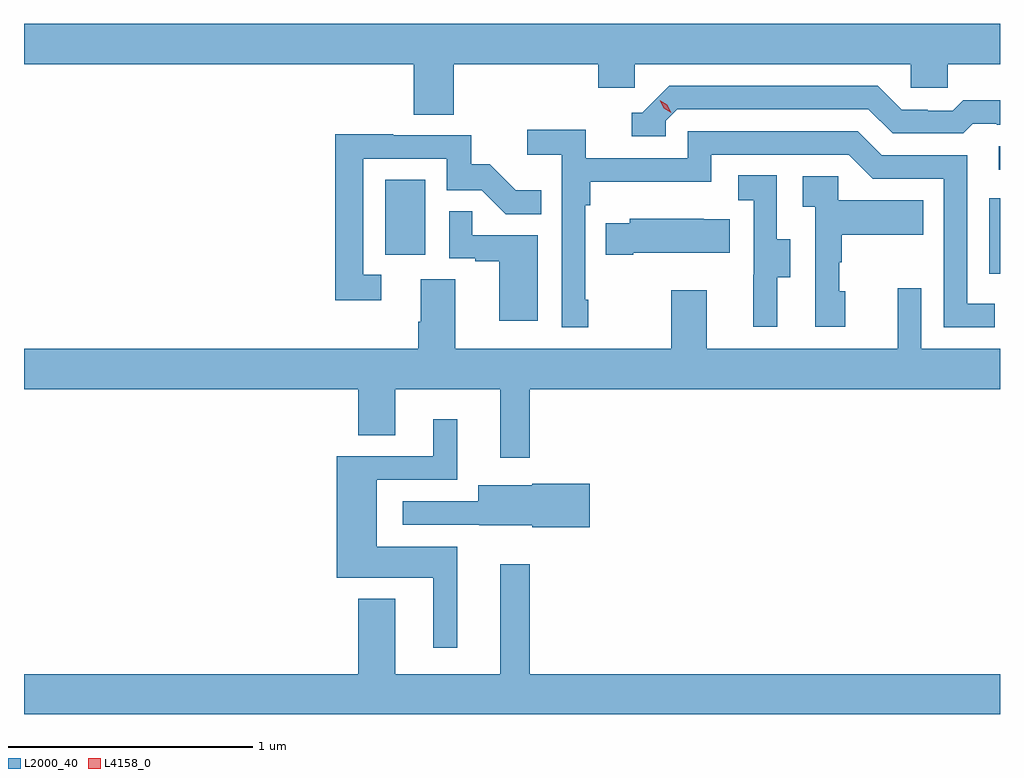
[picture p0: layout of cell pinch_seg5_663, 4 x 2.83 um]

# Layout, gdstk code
import gdstk
lib = gdstk.Library(unit=1e-6, precision=1e-09)
def R(c, l, rs):  # rectangles x0, y0, x1, y1
    for r in rs: c.add(gdstk.rectangle(r[:2], r[2:], *l))
def P(c, l, *ps):  # polygons
    for p in ps: c.add(gdstk.Polygon(p, *l))
L2000_40 = (2000, 40)
L4158_0 = (4158, 0)

pinch_seg5_663 = lib.new_cell('pinch_seg5_663')
R(pinch_seg5_663, L2000_40, [(1058.682,841.248,1058.726,841.558), (1056.206,841.326,1056.37,841.633), (1058.721,841.674,1058.726,841.77)])
P(pinch_seg5_663, L2000_40, [(1056.488,842.108),(1057.079,842.108),(1057.079,842.01),(1057.23,842.01),(1057.23,842.108),(1058.361,842.108),(1058.361,842.01),(1058.511,842.01),(1058.511,842.108),(1058.726,842.108),(1058.726,842.272),(1054.726,842.272),(1054.726,842.108),(1056.323,842.108),(1056.323,841.9),(1056.488,841.9)],
  [(1057.356,841.875),(1057.404,841.923),(1058.187,841.923),(1058.286,841.824),(1058.575,841.824),(1058.614,841.863),(1058.713,841.863),(1058.713,841.86),(1058.726,841.86),(1058.726,841.96),(1058.575,841.96),(1058.533,841.917),(1058.43,841.917),(1058.43,841.92),(1058.323,841.92),(1058.224,842.019),(1057.371,842.019),(1057.26,841.908),(1057.217,841.908),(1057.217,841.812),(1057.356,841.812)],
  [(1057.039,841.141),(1057.026,841.141),(1057.026,841.529),(1057.046,841.529),(1057.046,841.625),(1057.542,841.625),(1057.542,841.737),(1058.106,841.737),(1058.205,841.638),(1058.496,841.638),(1058.496,841.029),(1058.705,841.029),(1058.705,841.125),(1058.592,841.125),(1058.592,841.734),(1058.242,841.734),(1058.143,841.833),(1057.446,841.833),(1057.446,841.722),(1057.028,841.722),(1057.028,841.838),(1056.789,841.838),(1056.789,841.736),(1056.93,841.736),(1056.93,841.029),(1057.039,841.029)],
  [(1056.19,841.245),(1056.117,841.245),(1056.117,841.719),(1056.459,841.719),(1056.459,841.59),(1056.603,841.59),(1056.701,841.492),(1056.845,841.492),(1056.845,841.591),(1056.741,841.591),(1056.634,841.698),(1056.558,841.698),(1056.558,841.815),(1056.239,841.815),(1056.239,841.82),(1056.001,841.82),(1056.001,841.14),(1056.19,841.14)],
  [(1057.813,841.234),(1057.867,841.234),(1057.867,841.389),(1057.812,841.389),(1057.812,841.652),(1057.653,841.652),(1057.653,841.549),(1057.716,841.549),(1057.716,841.245),(1057.715,841.245),(1057.715,841.032),(1057.813,841.032)],
  [(1058.092,841.176),(1058.067,841.176),(1058.067,841.295),(1058.077,841.295),(1058.077,841.409),(1058.411,841.409),(1058.411,841.549),(1058.064,841.549),(1058.064,841.647),(1057.917,841.647),(1057.917,841.523),(1057.968,841.523),(1057.968,841.032),(1058.092,841.032)],
  [(1056.832,841.407),(1056.563,841.407),(1056.563,841.505),(1056.468,841.505),(1056.468,841.311),(1056.575,841.311),(1056.575,841.299),(1056.674,841.299),(1056.674,841.056),(1056.832,841.056)],
  [(1057.222,841.334),(1057.619,841.334),(1057.619,841.471),(1057.511,841.471),(1057.511,841.474),(1057.209,841.474),(1057.209,841.456),(1057.111,841.456),(1057.111,841.327),(1057.222,841.327)],
  [(1056.799,840.776),(1058.726,840.776),(1058.726,840.94),(1058.403,840.94),(1058.403,841.189),(1058.306,841.189),(1058.306,840.94),(1057.525,840.94),(1057.525,841.18),(1057.378,841.18),(1057.378,840.94),(1056.493,840.94),(1056.493,841.226),(1056.353,841.226),(1056.353,841.052),(1056.341,841.052),(1056.341,840.94),(1054.726,840.94),(1054.726,840.776),(1056.095,840.776),(1056.095,840.586),(1056.247,840.586),(1056.247,840.776),(1056.677,840.776),(1056.677,840.495),(1056.799,840.495)],
  [(1056.502,840.13),(1056.172,840.13),(1056.172,840.405),(1056.502,840.405),(1056.502,840.652),(1056.404,840.652),(1056.404,840.501),(1056.008,840.501),(1056.008,840.002),(1056.404,840.002),(1056.404,839.715),(1056.502,839.715)],
  [(1057.045,840.387),(1056.81,840.387),(1056.81,840.382),(1056.587,840.382),(1056.587,840.315),(1056.279,840.315),(1056.279,840.219),(1056.591,840.219),(1056.591,840.218),(1056.81,840.218),(1056.81,840.209),(1057.045,840.209)],
  [(1058.726,839.608),(1056.799,839.608),(1056.799,840.058),(1056.677,840.058),(1056.677,839.608),(1056.247,839.608),(1056.247,839.917),(1056.095,839.917),(1056.095,839.608),(1054.726,839.608),(1054.726,839.444),(1058.726,839.444)])
P(pinch_seg5_663, L4158_0, [(1057.378,841.908),(1057.348,841.927),(1057.331,841.959),(1057.331,841.96),(1057.332,841.96),(1057.362,841.94),(1057.378,841.908),(1057.378,841.908)])

lib.write_gds('pinch_seg5_663.gds')
